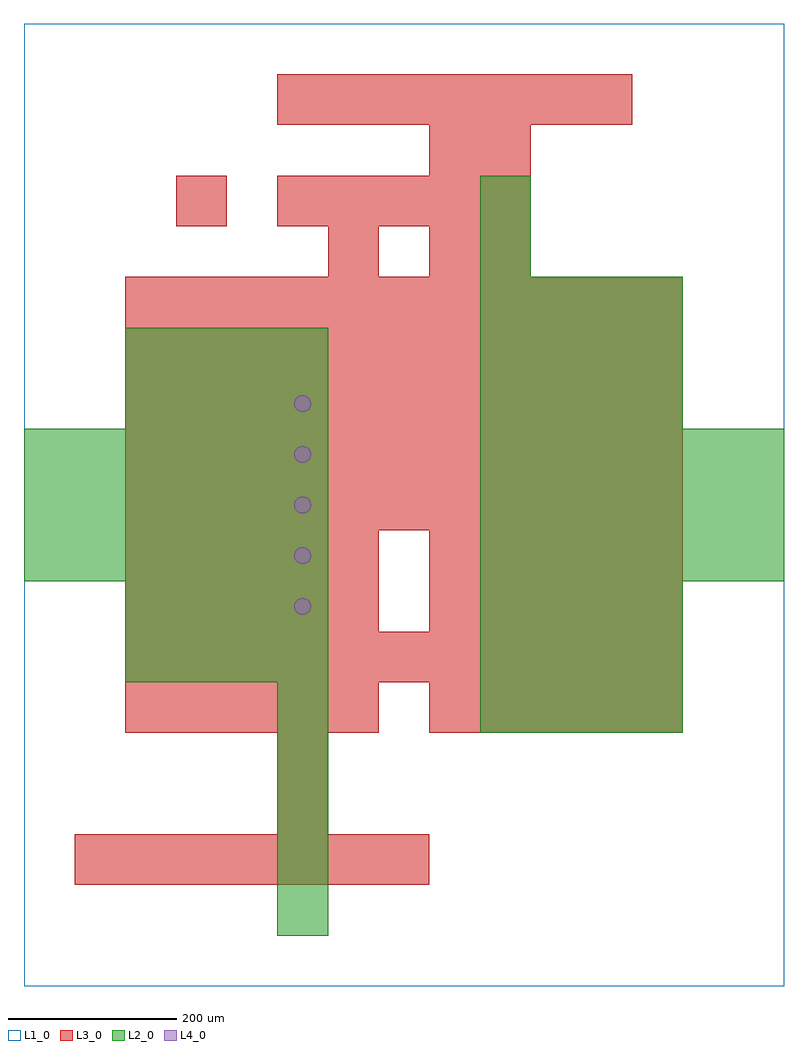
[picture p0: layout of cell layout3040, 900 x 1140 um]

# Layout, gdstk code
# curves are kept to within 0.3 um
import gdstk
lib = gdstk.Library(unit=1e-6, precision=1e-09)
def R(c, l, rs):  # rectangles x0, y0, x1, y1
    for r in rs: c.add(gdstk.rectangle(r[:2], r[2:], *l))
def A(c, l, x, y, w, h, nx, ny, dx, dy):  # array of equal rectangles
    R(c, l, [(x+i*dx, y+j*dy, x+i*dx+w, y+j*dy+h) for i in range(nx) for j in range(ny)])
def P(c, l, *ps):  # polygons
    for p in ps: c.add(gdstk.Polygon(p, *l))
L1_0 = (1, 0)
L2_0 = (2, 0)
L3_0 = (3, 0)
L4_0 = (4, 0)

layout3040 = lib.new_cell('layout3040')
R(layout3040, L1_0, [(0,0,900,1140)])
A(layout3040, L2_0, 300, 60, 60, 60, 1, 5, 0, 60)
A(layout3040, L2_0, 540, 300, 60, 60, 4, 3, 60, 60)
A(layout3040, L2_0, 120, 360, 60, 60, 4, 2, 60, 60)
A(layout3040, L2_0, 0, 480, 60, 60, 6, 3, 60, 60)
A(layout3040, L2_0, 540, 480, 60, 60, 6, 3, 60, 60)
A(layout3040, L2_0, 120, 660, 60, 60, 4, 2, 60, 60)
A(layout3040, L2_0, 540, 660, 60, 60, 4, 3, 60, 60)
R(layout3040, L2_0, [(540,840,600,900), (540,900,600,960)])
A(layout3040, L3_0, 60, 120, 60, 60, 7, 1, 60, 0)
A(layout3040, L3_0, 120, 300, 60, 60, 5, 2, 60, 120)
A(layout3040, L3_0, 480, 300, 60, 60, 5, 2, 60, 120)
A(layout3040, L3_0, 120, 360, 60, 60, 11, 2, 60, 180)
A(layout3040, L3_0, 120, 480, 60, 60, 5, 1, 60, 0)
A(layout3040, L3_0, 480, 480, 60, 60, 5, 1, 60, 0)
A(layout3040, L3_0, 120, 600, 60, 60, 11, 4, 60, 60)
A(layout3040, L3_0, 300, 900, 60, 60, 5, 1, 60, 0)
A(layout3040, L3_0, 300, 1020, 60, 60, 7, 1, 60, 0)
R(layout3040, L3_0, [(300,180,360,240), (300,240,360,300), (360,840,420,900), (480,840,540,900), (540,840,600,900), (180,900,240,960), (480,960,540,1020), (540,960,600,1020)])
P(layout3040, L4_0, [(340,450),(339.239,453.827),(337.071,457.071),(333.827,459.239),(330,460),(326.173,459.239),(322.929,457.071),(320.761,453.827),(320,450),(320.761,446.173),(322.929,442.929),(326.173,440.761),(330,440),(333.827,440.761),(337.071,442.929),(339.239,446.173)],
  [(340,510),(339.239,513.827),(337.071,517.071),(333.827,519.239),(330,520),(326.173,519.239),(322.929,517.071),(320.761,513.827),(320,510),(320.761,506.173),(322.929,502.929),(326.173,500.761),(330,500),(333.827,500.761),(337.071,502.929),(339.239,506.173)],
  [(340,570),(339.239,573.827),(337.071,577.071),(333.827,579.239),(330,580),(326.173,579.239),(322.929,577.071),(320.761,573.827),(320,570),(320.761,566.173),(322.929,562.929),(326.173,560.761),(330,560),(333.827,560.761),(337.071,562.929),(339.239,566.173)],
  [(340,630),(339.239,633.827),(337.071,637.071),(333.827,639.239),(330,640),(326.173,639.239),(322.929,637.071),(320.761,633.827),(320,630),(320.761,626.173),(322.929,622.929),(326.173,620.761),(330,620),(333.827,620.761),(337.071,622.929),(339.239,626.173)],
  [(340,690),(339.239,693.827),(337.071,697.071),(333.827,699.239),(330,700),(326.173,699.239),(322.929,697.071),(320.761,693.827),(320,690),(320.761,686.173),(322.929,682.929),(326.173,680.761),(330,680),(333.827,680.761),(337.071,682.929),(339.239,686.173)])

lib.write_gds('layout3040.gds')
